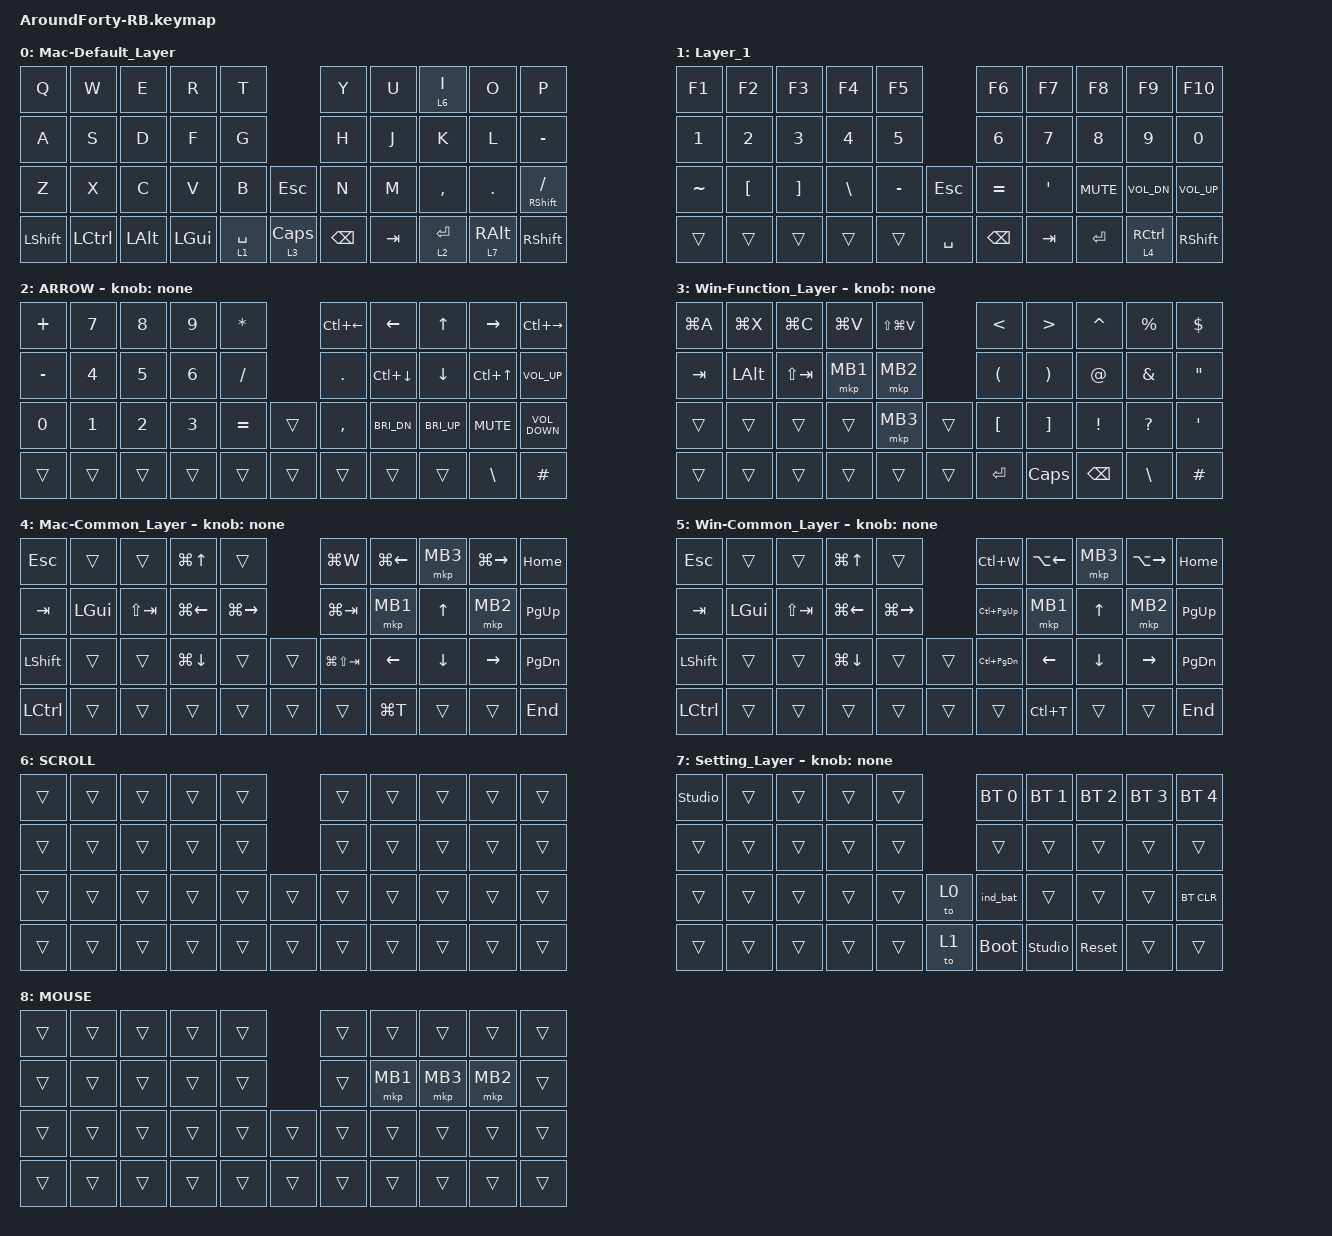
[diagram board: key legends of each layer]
#define ZMK_POINTING_DEFAULT_SCRL_VAL 100
#define MOUSE 6

#include <behaviors/rgbled_widget.dtsi>  // needed to use the behaviors
#include <behaviors.dtsi>
#include <dt-bindings/zmk/bt.h>
#include <dt-bindings/zmk/keys.h>
#include <dt-bindings/zmk/pointing.h>

&mt {
    quick-tap-ms = <0>;
    flavor = "balanced";
};

/ {
    combos {
        compatible = "zmk,combos";

        tab {
            bindings = <&kp TAB>;
            key-positions = <10 11>;
        };

        shift+tab {
            bindings = <&kp LS(TAB)>;
            key-positions = <19 18>;
        };

        escape {
            bindings = <&kp ESCAPE>;
            key-positions = <0 1>;
        };
    };

    macros {
        to_layer_0: to_layer_0 {
            compatible = "zmk,behavior-macro-one-param";
            #binding-cells = <1>;
            bindings = <&to 0 &macro_param_1to1 &kp MACRO_PLACEHOLDER>;
            label = "TO_LAYER_0";
        };
    };

    behaviors {
        lt_to_layer_0: lt_to_layer_0 {
            compatible = "zmk,behavior-hold-tap";
            label = "LAYER_TAP_TO_0";
            bindings = <&mo>, <&to_layer_0>;

            #binding-cells = <2>;
            tapping-term-ms = <200>;
        };
    };

    keymap {
        compatible = "zmk,keymap";

        Mac-Default_Layer {
            bindings = <
&kp Q      &kp W             &kp E     &kp R         &kp T                               &kp Y          &kp U    &lt 6 I                  &kp O                  &kp P
&kp A      &kp S             &kp D     &kp F         &kp G                               &kp H          &kp J    &kp K                    &kp L                  &kp MINUS
&kp Z      &kp X             &kp C     &kp V         &kp B                   &kp ESCAPE  &kp N          &kp M    &kp COMMA                &kp PERIOD             &mt RIGHT_SHIFT SLASH
&kp LSHFT  &kp LEFT_CONTROL  &kp LALT  &kp LEFT_GUI  &lt_to_layer_0 1 SPACE  &lt 3 CAPS  &kp BACKSPACE  &kp TAB  &lt_to_layer_0 2 RETURN  &lt_to_layer_0 7 RALT  &kp RSHFT
            >;
        };

        Layer_1 {
            bindings = <
&kp F1        &kp F2            &kp F3             &kp F4         &kp F5                 &kp F6         &kp F7   &kp F8      &kp F9               &kp F10
&kp NUMBER_1  &kp NUMBER_2      &kp NUMBER_3       &kp NUMBER_4   &kp N5                 &kp NUMBER_6   &kp N7   &kp N8      &kp N9               &kp N0
&kp TILDE     &kp LEFT_BRACKET  &kp RIGHT_BRACKET  &kp BACKSLASH  &kp MINUS  &kp ESCAPE  &kp EQUAL      &kp SQT  &kp K_MUTE  &kp C_VOL_DN         &kp C_VOL_UP
&trans        &trans            &trans             &trans         &trans     &kp SPACE   &kp BACKSPACE  &kp TAB  &kp RET     &lt 4 RIGHT_CONTROL  &kp RSHFT
            >;
        };

        ARROW {
            bindings = <
&kp PLUS      &kp NUMBER_7  &kp NUMBER_8  &kp NUMBER_9  &kp ASTERISK          &kp LC(LEFT)  &kp LEFT            &kp UP_ARROW    &kp RIGHT         &kp LC(RIGHT)
&kp MINUS     &kp NUMBER_4  &kp NUMBER_5  &kp NUMBER_6  &kp SLASH             &kp PERIOD    &kp LC(DOWN_ARROW)  &kp DOWN_ARROW  &kp LC(UP_ARROW)  &kp K_VOLUME_UP
&kp NUMBER_0  &kp NUMBER_1  &kp NUMBER_2  &kp NUMBER_3  &kp EQUAL     &trans  &kp COMMA     &kp C_BRI_DN        &kp C_BRI_UP    &kp K_MUTE        &kp K_VOLUME_DOWN
&trans        &trans        &trans        &trans        &trans        &trans  &trans        &trans              &trans          &kp BACKSLASH     &kp HASH
            >;

            sensor-bindings = <&none>;
        };

        Win-Function_Layer {
            bindings = <
&kp LG(A)  &kp LG(X)     &kp LG(C)    &kp LG(V)  &kp LS(LG(V))          &kp LESS_THAN         &kp GREATER_THAN       &kp CARET        &kp PERCENT    &kp DOLLAR
&kp TAB    &kp LEFT_ALT  &kp LS(TAB)  &mkp MB1   &mkp MB2               &kp LEFT_PARENTHESIS  &kp RIGHT_PARENTHESIS  &kp AT_SIGN      &kp AMPERSAND  &kp DOUBLE_QUOTES
&trans     &trans        &trans       &trans     &mkp MB3       &trans  &kp LEFT_BRACKET      &kp RIGHT_BRACKET      &kp EXCLAMATION  &kp QUESTION   &kp SQT
&trans     &trans        &trans       &trans     &trans         &trans  &kp ENTER             &kp CAPS               &kp BACKSPACE    &kp BACKSLASH  &kp HASH
            >;

            sensor-bindings = <&none>;
        };

        Mac-Common_Layer {
            bindings = <
&kp ESCAPE      &trans        &trans       &kp LG(UP_ARROW)    &trans                       &kp LG(W)        &kp LG(LEFT_ARROW)  &mkp MB3        &kp LG(RIGHT_ARROW)  &kp HOME
&kp TAB         &kp LEFT_GUI  &kp LS(TAB)  &kp LG(LEFT_ARROW)  &kp LG(RIGHT_ARROW)          &kp LG(TAB)      &mkp MB1            &kp UP_ARROW    &mkp MB2             &kp PAGE_UP
&kp LEFT_SHIFT  &trans        &trans       &kp LG(DOWN_ARROW)  &trans               &trans  &kp LG(LS(TAB))  &kp LEFT_ARROW      &kp DOWN_ARROW  &kp RIGHT_ARROW      &kp PAGE_DOWN
&kp LCTRL       &trans        &trans       &trans              &trans               &trans  &trans           &kp LG(T)           &trans          &trans               &kp END
            >;

            sensor-bindings = <&none>;
        };

        Win-Common_Layer {
            bindings = <
&kp ESCAPE      &trans        &trans       &kp LG(UP_ARROW)    &trans                       &kp LC(W)          &kp LA(LEFT_ARROW)  &mkp MB3        &kp LA(RIGHT_ARROW)  &kp HOME
&kp TAB         &kp LEFT_GUI  &kp LS(TAB)  &kp LG(LEFT_ARROW)  &kp LG(RIGHT_ARROW)          &kp LC(PAGE_UP)    &mkp MB1            &kp UP_ARROW    &mkp MB2             &kp PAGE_UP
&kp LEFT_SHIFT  &trans        &trans       &kp LG(DOWN_ARROW)  &trans               &trans  &kp LC(PAGE_DOWN)  &kp LEFT_ARROW      &kp DOWN_ARROW  &kp RIGHT_ARROW      &kp PAGE_DOWN
&kp LCTRL       &trans        &trans       &trans              &trans               &trans  &trans             &kp LC(T)           &trans          &trans               &kp END
            >;

            sensor-bindings = <&none>;
        };

        SCROLL {
            bindings = <
&trans  &trans  &trans  &trans  &trans          &trans  &trans  &trans  &trans  &trans
&trans  &trans  &trans  &trans  &trans          &trans  &trans  &trans  &trans  &trans
&trans  &trans  &trans  &trans  &trans  &trans  &trans  &trans  &trans  &trans  &trans
&trans  &trans  &trans  &trans  &trans  &trans  &trans  &trans  &trans  &trans  &trans
            >;
        };

        Setting_Layer {
            bindings = <
&studio_unlock  &trans  &trans  &trans  &trans         &bt BT_SEL 0  &bt BT_SEL 1    &bt BT_SEL 2  &bt BT_SEL 3  &bt BT_SEL 4
&trans          &trans  &trans  &trans  &trans         &trans        &trans          &trans        &trans        &trans
&trans          &trans  &trans  &trans  &trans  &to 0  &ind_bat      &trans          &trans        &trans        &bt BT_CLR
&trans          &trans  &trans  &trans  &trans  &to 1  &bootloader   &studio_unlock  &sys_reset    &trans        &trans
            >;

            sensor-bindings = <&none>;
        };

        MOUSE {
            bindings = <
&trans  &trans  &trans  &trans  &trans          &trans  &trans    &trans    &trans    &trans
&trans  &trans  &trans  &trans  &trans          &trans  &mkp MB1  &mkp MB3  &mkp MB2  &trans
&trans  &trans  &trans  &trans  &trans  &trans  &trans  &trans    &trans    &trans    &trans
&trans  &trans  &trans  &trans  &trans  &trans  &trans  &trans    &trans    &trans    &trans
            >;
        };
    };
};
